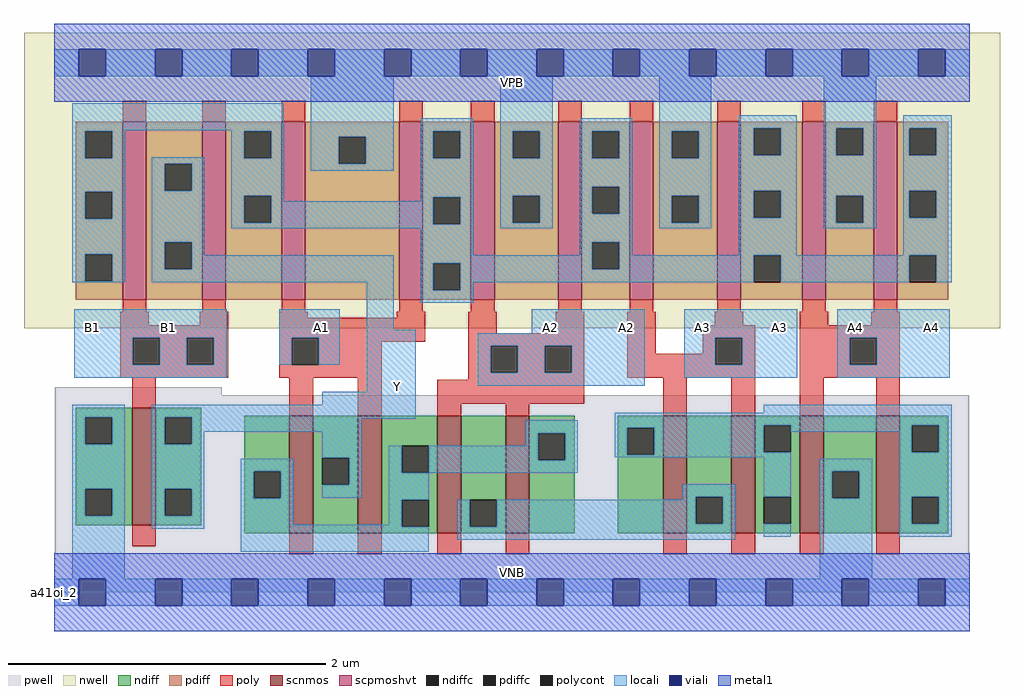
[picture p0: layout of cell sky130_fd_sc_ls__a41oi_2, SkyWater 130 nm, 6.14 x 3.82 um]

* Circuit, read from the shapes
.subckt sky130_fd_sc_ls__a41oi_2 A1 A2 A3 A4 B1 VGND VNB VPB VPWR Y
XM1 Y B1 VGND VNB sky130_fd_pr__nfet_01v8 w=0.74 l=0.15
XM2 Y A1 n1 VNB sky130_fd_pr__nfet_01v8 w=0.74 l=0.15 m=2
XM3 n2 A2 n1 VNB sky130_fd_pr__nfet_01v8 w=0.74 l=0.15 m=2
XM4 n2 A3 n3 VNB sky130_fd_pr__nfet_01v8 w=0.74 l=0.15 m=2
XM5 VGND A4 n3 VNB sky130_fd_pr__nfet_01v8 w=0.74 l=0.15 m=2
XM6 Y B1 n4 VPB sky130_fd_pr__pfet_01v8_hvt w=1.12 l=0.15 m=2
XM7 VPWR A1 n4 VPB sky130_fd_pr__pfet_01v8_hvt w=1.12 l=0.15 m=2
XM8 VPWR A2 n4 VPB sky130_fd_pr__pfet_01v8_hvt w=1.12 l=0.15 m=2
XM9 VPWR A3 n4 VPB sky130_fd_pr__pfet_01v8_hvt w=1.12 l=0.15 m=2
XM10 VPWR A4 n4 VPB sky130_fd_pr__pfet_01v8_hvt w=1.12 l=0.15 m=2
.ends

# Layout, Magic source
magic
tech sky130A
magscale 1 2
<< nwell >>
rect -38 332 1190 704
<< pwell >>
rect 1 248 211 258
rect 1 49 1151 248
rect 0 0 1152 49
<< scnmos >>
rect 98 84 128 232
rect 296 74 326 222
rect 382 74 412 222
rect 482 74 512 222
rect 568 74 598 222
rect 766 74 796 222
rect 852 74 882 222
rect 938 74 968 222
rect 1034 74 1064 222
<< scpmoshvt >>
rect 86 368 116 592
rect 186 368 216 592
rect 286 368 316 592
rect 434 368 464 592
rect 524 368 554 592
rect 634 368 664 592
rect 724 368 754 592
rect 834 368 864 592
rect 941 368 971 592
rect 1031 368 1061 592
<< ndiff >>
rect 27 220 98 232
rect 27 186 39 220
rect 73 186 98 220
rect 27 130 98 186
rect 27 96 39 130
rect 73 96 98 130
rect 27 84 98 96
rect 128 220 185 232
rect 128 186 139 220
rect 173 186 185 220
rect 128 130 185 186
rect 128 96 139 130
rect 173 96 185 130
rect 128 84 185 96
rect 239 152 296 222
rect 239 118 251 152
rect 285 118 296 152
rect 239 74 296 118
rect 326 169 382 222
rect 326 135 337 169
rect 371 135 382 169
rect 326 74 382 135
rect 412 184 482 222
rect 412 150 437 184
rect 471 150 482 184
rect 412 116 482 150
rect 412 82 437 116
rect 471 82 482 116
rect 412 74 482 82
rect 512 116 568 222
rect 512 82 523 116
rect 557 82 568 116
rect 512 74 568 82
rect 598 200 655 222
rect 598 166 609 200
rect 643 166 655 200
rect 598 74 655 166
rect 709 207 766 222
rect 709 173 721 207
rect 755 173 766 207
rect 709 74 766 173
rect 796 120 852 222
rect 796 86 807 120
rect 841 86 852 120
rect 796 74 852 86
rect 882 210 938 222
rect 882 176 893 210
rect 927 176 938 210
rect 882 120 938 176
rect 882 86 893 120
rect 927 86 938 120
rect 882 74 938 86
rect 968 152 1034 222
rect 968 118 979 152
rect 1013 118 1034 152
rect 968 74 1034 118
rect 1064 210 1125 222
rect 1064 176 1079 210
rect 1113 176 1125 210
rect 1064 120 1125 176
rect 1064 86 1079 120
rect 1113 86 1125 120
rect 1064 74 1125 86
<< pdiff >>
rect 27 580 86 592
rect 27 546 39 580
rect 73 546 86 580
rect 27 504 86 546
rect 27 470 39 504
rect 73 470 86 504
rect 27 425 86 470
rect 27 391 39 425
rect 73 391 86 425
rect 27 368 86 391
rect 116 539 186 592
rect 116 505 139 539
rect 173 505 186 539
rect 116 440 186 505
rect 116 406 139 440
rect 173 406 186 440
rect 116 368 186 406
rect 216 580 286 592
rect 216 546 239 580
rect 273 546 286 580
rect 216 499 286 546
rect 216 465 239 499
rect 273 465 286 499
rect 216 368 286 465
rect 316 573 434 592
rect 316 539 358 573
rect 392 539 434 573
rect 316 368 434 539
rect 464 580 524 592
rect 464 546 477 580
rect 511 546 524 580
rect 464 497 524 546
rect 464 463 477 497
rect 511 463 524 497
rect 464 414 524 463
rect 464 380 477 414
rect 511 380 524 414
rect 464 368 524 380
rect 554 580 634 592
rect 554 546 577 580
rect 611 546 634 580
rect 554 499 634 546
rect 554 465 577 499
rect 611 465 634 499
rect 554 368 634 465
rect 664 580 724 592
rect 664 546 677 580
rect 711 546 724 580
rect 664 510 724 546
rect 664 476 677 510
rect 711 476 724 510
rect 664 440 724 476
rect 664 406 677 440
rect 711 406 724 440
rect 664 368 724 406
rect 754 580 834 592
rect 754 546 777 580
rect 811 546 834 580
rect 754 499 834 546
rect 754 465 777 499
rect 811 465 834 499
rect 754 368 834 465
rect 864 584 941 592
rect 864 550 880 584
rect 914 550 941 584
rect 864 505 941 550
rect 864 471 880 505
rect 914 471 941 505
rect 864 424 941 471
rect 864 390 880 424
rect 914 390 941 424
rect 864 368 941 390
rect 971 584 1031 592
rect 971 550 984 584
rect 1018 550 1031 584
rect 971 499 1031 550
rect 971 465 984 499
rect 1018 465 1031 499
rect 971 368 1031 465
rect 1061 584 1125 592
rect 1061 550 1076 584
rect 1110 550 1125 584
rect 1061 505 1125 550
rect 1061 471 1076 505
rect 1110 471 1125 505
rect 1061 424 1125 471
rect 1061 390 1076 424
rect 1110 390 1125 424
rect 1061 368 1125 390
<< ndiffc >>
rect 39 186 73 220
rect 39 96 73 130
rect 139 186 173 220
rect 139 96 173 130
rect 251 118 285 152
rect 337 135 371 169
rect 437 150 471 184
rect 437 82 471 116
rect 523 82 557 116
rect 609 166 643 200
rect 721 173 755 207
rect 807 86 841 120
rect 893 176 927 210
rect 893 86 927 120
rect 979 118 1013 152
rect 1079 176 1113 210
rect 1079 86 1113 120
<< pdiffc >>
rect 39 546 73 580
rect 39 470 73 504
rect 39 391 73 425
rect 139 505 173 539
rect 139 406 173 440
rect 239 546 273 580
rect 239 465 273 499
rect 358 539 392 573
rect 477 546 511 580
rect 477 463 511 497
rect 477 380 511 414
rect 577 546 611 580
rect 577 465 611 499
rect 677 546 711 580
rect 677 476 711 510
rect 677 406 711 440
rect 777 546 811 580
rect 777 465 811 499
rect 880 550 914 584
rect 880 471 914 505
rect 880 390 914 424
rect 984 550 1018 584
rect 984 465 1018 499
rect 1076 550 1110 584
rect 1076 471 1110 505
rect 1076 390 1110 424
<< poly >>
rect 86 592 116 618
rect 186 592 216 618
rect 286 592 316 618
rect 434 592 464 618
rect 524 592 554 618
rect 634 592 664 618
rect 724 592 754 618
rect 834 592 864 618
rect 941 592 971 618
rect 1031 592 1061 618
rect 86 353 116 368
rect 186 353 216 368
rect 286 353 316 368
rect 434 353 464 368
rect 524 353 554 368
rect 634 353 664 368
rect 724 353 754 368
rect 834 353 864 368
rect 941 353 971 368
rect 1031 353 1061 368
rect 83 336 119 353
rect 183 336 219 353
rect 83 320 219 336
rect 83 286 99 320
rect 133 286 167 320
rect 201 286 219 320
rect 83 270 219 286
rect 283 345 319 353
rect 431 345 467 353
rect 283 320 467 345
rect 283 286 299 320
rect 333 315 467 320
rect 521 326 557 353
rect 631 326 667 353
rect 333 286 412 315
rect 283 270 412 286
rect 98 232 128 270
rect 296 222 326 270
rect 382 222 412 270
rect 521 310 667 326
rect 521 276 549 310
rect 583 276 617 310
rect 651 276 667 310
rect 521 267 667 276
rect 721 300 757 353
rect 831 336 867 353
rect 938 336 974 353
rect 1028 336 1064 353
rect 816 320 882 336
rect 816 300 832 320
rect 721 286 832 300
rect 866 286 882 320
rect 721 270 882 286
rect 482 237 667 267
rect 482 222 512 237
rect 568 222 598 237
rect 766 222 796 270
rect 852 222 882 270
rect 938 320 1064 336
rect 938 286 1001 320
rect 1035 286 1064 320
rect 938 270 1064 286
rect 938 222 968 270
rect 1034 222 1064 270
rect 98 58 128 84
rect 296 48 326 74
rect 382 48 412 74
rect 482 48 512 74
rect 568 48 598 74
rect 766 48 796 74
rect 852 48 882 74
rect 938 48 968 74
rect 1034 48 1064 74
<< polycont >>
rect 99 286 133 320
rect 167 286 201 320
rect 299 286 333 320
rect 549 276 583 310
rect 617 276 651 310
rect 832 286 866 320
rect 1001 286 1035 320
<< locali >>
rect 0 649 31 683
rect 65 649 127 683
rect 161 649 223 683
rect 257 649 319 683
rect 353 649 415 683
rect 449 649 511 683
rect 545 649 607 683
rect 641 649 703 683
rect 737 649 799 683
rect 833 649 895 683
rect 929 649 991 683
rect 1025 649 1087 683
rect 1121 649 1152 683
rect 23 581 289 615
rect 23 580 89 581
rect 23 546 39 580
rect 73 546 89 580
rect 223 580 289 581
rect 23 504 89 546
rect 23 470 39 504
rect 73 470 89 504
rect 23 425 89 470
rect 23 391 39 425
rect 73 391 89 425
rect 23 390 89 391
rect 123 539 189 547
rect 123 505 139 539
rect 173 505 189 539
rect 123 440 189 505
rect 223 546 239 580
rect 273 546 289 580
rect 223 499 289 546
rect 323 573 427 649
rect 323 539 358 573
rect 392 539 427 573
rect 323 530 427 539
rect 461 580 527 596
rect 461 546 477 580
rect 511 546 527 580
rect 223 465 239 499
rect 273 492 289 499
rect 461 497 527 546
rect 461 492 477 497
rect 273 465 477 492
rect 223 463 477 465
rect 511 463 527 497
rect 223 458 527 463
rect 561 580 627 649
rect 561 546 577 580
rect 611 546 627 580
rect 561 499 627 546
rect 561 465 577 499
rect 611 465 627 499
rect 561 458 627 465
rect 661 580 727 596
rect 661 546 677 580
rect 711 546 727 580
rect 661 510 727 546
rect 661 476 677 510
rect 711 476 727 510
rect 123 406 139 440
rect 173 424 189 440
rect 461 424 527 458
rect 661 440 727 476
rect 761 580 827 649
rect 761 546 777 580
rect 811 546 827 580
rect 761 499 827 546
rect 761 465 777 499
rect 811 465 827 499
rect 761 458 827 465
rect 861 584 934 600
rect 861 550 880 584
rect 914 550 934 584
rect 861 505 934 550
rect 861 471 880 505
rect 914 471 934 505
rect 661 424 677 440
rect 173 406 427 424
rect 123 390 427 406
rect 25 320 217 356
rect 25 286 99 320
rect 133 286 167 320
rect 201 286 217 320
rect 283 320 359 356
rect 283 286 299 320
rect 333 286 359 320
rect 393 330 427 390
rect 461 414 677 424
rect 461 380 477 414
rect 511 406 677 414
rect 711 424 727 440
rect 861 424 934 471
rect 968 584 1034 649
rect 968 550 984 584
rect 1018 550 1034 584
rect 968 499 1034 550
rect 968 465 984 499
rect 1018 465 1034 499
rect 968 458 1034 465
rect 1068 584 1129 600
rect 1068 550 1076 584
rect 1110 550 1129 584
rect 1068 505 1129 550
rect 1068 471 1076 505
rect 1110 471 1129 505
rect 1068 424 1129 471
rect 711 406 880 424
rect 511 390 880 406
rect 914 390 1076 424
rect 1110 390 1129 424
rect 511 380 527 390
rect 461 364 527 380
rect 25 270 217 286
rect 393 252 455 330
rect 601 326 743 356
rect 533 310 743 326
rect 533 276 549 310
rect 583 276 617 310
rect 651 276 743 310
rect 533 260 743 276
rect 793 320 935 356
rect 793 286 832 320
rect 866 286 935 320
rect 793 270 935 286
rect 985 320 1127 356
rect 985 286 1001 320
rect 1035 286 1127 320
rect 985 270 1127 286
rect 337 236 455 252
rect 23 220 89 236
rect 23 186 39 220
rect 73 186 89 220
rect 23 130 89 186
rect 23 96 39 130
rect 73 96 89 130
rect 23 17 89 96
rect 123 220 455 236
rect 893 226 1129 236
rect 123 186 139 220
rect 173 218 455 220
rect 173 202 387 218
rect 173 186 189 202
rect 123 130 189 186
rect 337 169 387 202
rect 593 200 659 216
rect 593 184 609 200
rect 123 96 139 130
rect 173 96 189 130
rect 123 80 189 96
rect 235 152 301 168
rect 235 118 251 152
rect 285 118 301 152
rect 371 135 387 169
rect 337 119 387 135
rect 421 150 437 184
rect 471 166 609 184
rect 643 166 659 200
rect 705 210 1129 226
rect 705 207 893 210
rect 705 173 721 207
rect 755 176 893 207
rect 927 202 1079 210
rect 755 173 927 176
rect 705 170 927 173
rect 471 150 659 166
rect 235 85 301 118
rect 421 116 471 150
rect 791 120 857 136
rect 791 116 807 120
rect 421 85 437 116
rect 235 82 437 85
rect 235 51 471 82
rect 507 82 523 116
rect 557 86 807 116
rect 841 86 857 120
rect 557 82 857 86
rect 507 66 857 82
rect 893 120 927 170
rect 1063 176 1079 202
rect 1113 176 1129 210
rect 893 70 927 86
rect 963 152 1029 168
rect 963 118 979 152
rect 1013 118 1029 152
rect 963 17 1029 118
rect 1063 120 1129 176
rect 1063 86 1079 120
rect 1113 86 1129 120
rect 1063 70 1129 86
rect 0 -17 31 17
rect 65 -17 127 17
rect 161 -17 223 17
rect 257 -17 319 17
rect 353 -17 415 17
rect 449 -17 511 17
rect 545 -17 607 17
rect 641 -17 703 17
rect 737 -17 799 17
rect 833 -17 895 17
rect 929 -17 991 17
rect 1025 -17 1087 17
rect 1121 -17 1152 17
<< viali >>
rect 31 649 65 683
rect 127 649 161 683
rect 223 649 257 683
rect 319 649 353 683
rect 415 649 449 683
rect 511 649 545 683
rect 607 649 641 683
rect 703 649 737 683
rect 799 649 833 683
rect 895 649 929 683
rect 991 649 1025 683
rect 1087 649 1121 683
rect 31 -17 65 17
rect 127 -17 161 17
rect 223 -17 257 17
rect 319 -17 353 17
rect 415 -17 449 17
rect 511 -17 545 17
rect 607 -17 641 17
rect 703 -17 737 17
rect 799 -17 833 17
rect 895 -17 929 17
rect 991 -17 1025 17
rect 1087 -17 1121 17
<< metal1 >>
rect 0 683 1152 715
rect 0 649 31 683
rect 65 649 127 683
rect 161 649 223 683
rect 257 649 319 683
rect 353 649 415 683
rect 449 649 511 683
rect 545 649 607 683
rect 641 649 703 683
rect 737 649 799 683
rect 833 649 895 683
rect 929 649 991 683
rect 1025 649 1087 683
rect 1121 649 1152 683
rect 0 617 1152 649
rect 0 17 1152 49
rect 0 -17 31 17
rect 65 -17 127 17
rect 161 -17 223 17
rect 257 -17 319 17
rect 353 -17 415 17
rect 449 -17 511 17
rect 545 -17 607 17
rect 641 -17 703 17
rect 737 -17 799 17
rect 833 -17 895 17
rect 929 -17 991 17
rect 1025 -17 1087 17
rect 1121 -17 1152 17
rect 0 -49 1152 -17
<< labels >>
rlabel comment s 0 0 0 0 4 a41oi_2
flabel pwell s 0 0 1152 49 0 FreeSans 200 0 0 0 VNB
port 7 nsew ground bidirectional
flabel nwell s 0 617 1152 666 0 FreeSans 200 0 0 0 VPB
port 8 nsew power bidirectional
flabel metal1 s 0 617 1152 666 0 FreeSans 340 0 0 0 VPWR
port 9 nsew power bidirectional abutment
flabel metal1 s 0 0 1152 49 0 FreeSans 340 0 0 0 VGND
port 6 nsew ground bidirectional abutment
flabel locali s 319 316 353 350 0 FreeSans 340 0 0 0 A1
port 1 nsew signal input
flabel locali s 415 242 449 276 0 FreeSans 340 0 0 0 Y
port 10 nsew signal output
flabel locali s 607 316 641 350 0 FreeSans 340 0 0 0 A2
port 2 nsew signal input
flabel locali s 703 316 737 350 0 FreeSans 340 0 0 0 A2
port 2 nsew signal input
flabel locali s 799 316 833 350 0 FreeSans 340 0 0 0 A3
port 3 nsew signal input
flabel locali s 895 316 929 350 0 FreeSans 340 0 0 0 A3
port 3 nsew signal input
flabel locali s 991 316 1025 350 0 FreeSans 340 0 0 0 A4
port 4 nsew signal input
flabel locali s 1087 316 1121 350 0 FreeSans 340 0 0 0 A4
port 4 nsew signal input
flabel locali s 31 316 65 350 0 FreeSans 340 0 0 0 B1
port 5 nsew signal input
flabel locali s 127 316 161 350 0 FreeSans 340 0 0 0 B1
port 5 nsew signal input
<< properties >>
string LEFsite unit
string LEFclass CORE
string FIXED_BBOX 0 0 1152 666
string GDS_FILE $PDKPATH/libs.ref/sky130_fd_sc_ls/gds/sky130_fd_sc_ls.gds
string LEFsymmetry X Y
string GDS_END 599616
string GDS_START 589494
<< end >>
